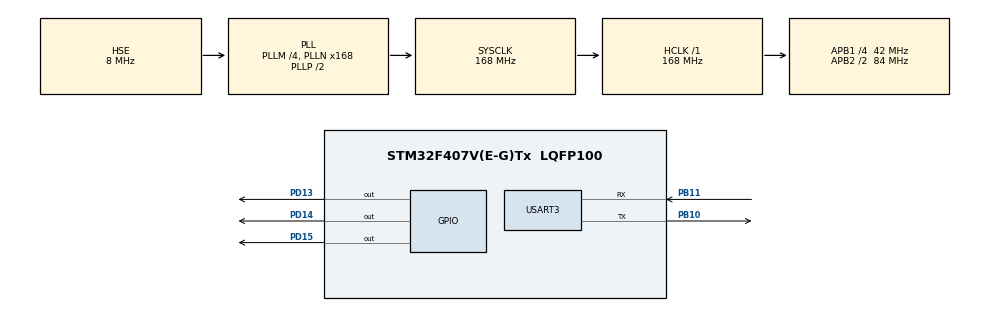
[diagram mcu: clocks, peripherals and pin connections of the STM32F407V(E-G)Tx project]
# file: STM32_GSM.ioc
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Mcu.Family=STM32F4
Mcu.Name=STM32F407V(E-G)Tx
Mcu.Package=LQFP100
NVIC.PriorityGroup=NVIC_PRIORITYGROUP_4
NVIC.USART3_IRQn=true\:0\:0\:false\:false\:true\:true\:true
PB10.Mode=Asynchronous
PB10.Signal=USART3_TX
PB11.Mode=Asynchronous
PB11.Signal=USART3_RX
PD13.Signal=GPIO_Output
PD14.Signal=GPIO_Output
PD15.Signal=GPIO_Output
PH0-OSC_IN.Mode=HSE-External-Oscillator
PH0-OSC_IN.Signal=RCC_OSC_IN
PH1-OSC_OUT.Mode=HSE-External-Oscillator
PH1-OSC_OUT.Signal=RCC_OSC_OUT
ProjectManager.HeapSize=0x200
ProjectManager.StackSize=0x400
ProjectManager.TargetToolchain=STM32CubeIDE
RCC.48MHZClocksFreq_Value=84000000
RCC.AHBFreq_Value=168000000
RCC.APB1CLKDivider=RCC_HCLK_DIV4
RCC.APB1Freq_Value=42000000
RCC.APB1TimFreq_Value=84000000
RCC.APB2CLKDivider=RCC_HCLK_DIV2
RCC.APB2Freq_Value=84000000
RCC.APB2TimFreq_Value=168000000
RCC.CortexFreq_Value=168000000
RCC.HCLKFreq_Value=168000000
RCC.HSE_VALUE=8000000
RCC.HSI_VALUE=16000000
RCC.LSE_VALUE=32768
RCC.PLLM=4
RCC.PLLN=168
RCC.PLLSourceVirtual=RCC_PLLSOURCE_HSE
RCC.SYSCLKFreq_VALUE=168000000
RCC.SYSCLKSource=RCC_SYSCLKSOURCE_PLLCLK
RCC.VCOOutputFreq_Value=336000000
USART3.VirtualMode=VM_ASYNC
board=custom

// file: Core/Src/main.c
/* USER CODE BEGIN Header */
/**
  ******************************************************************************
  * @file           : main.c
  * @brief          : Main program body
  ******************************************************************************
  * @attention
  *
  * <h2><center>&copy; Copyright (c) 2021 STMicroelectronics.
  * All rights reserved.</center></h2>
  *
  * This software component is licensed by ST under BSD 3-Clause license,
  * the "License"; You may not use this file except in compliance with the
  * License. You may obtain a copy of the License at:
  *                        opensource.org/licenses/BSD-3-Clause
  *
  ******************************************************************************
  */
/* USER CODE END Header */
#include "main.h"

/* USER CODE BEGIN PTD */
char GSM_AT_Send(char *Cmd, char CmdSize, char *rData, char RetSize, char trial);
/* USER CODE END PTD */

UART_HandleTypeDef huart3;

/* USER CODE BEGIN PV */
char Uart_Data[255];
char returnData[25];
char SMS[160];
char Rx_Cnt=0;
char Rx_Flag=0;
char *ptr;
/* USER CODE END PV */

void SystemClock_Config(void);
static void MX_GPIO_Init(void);
static void MX_USART3_UART_Init(void);

int main(void)
{

  /* MCU Configuration--------------------------------------------------------*/

  /* Reset of all peripherals, Initializes the Flash interface and the Systick. */
  HAL_Init();

  /* Configure the system clock */
  SystemClock_Config();

  /* Initialize all configured peripherals */
  MX_GPIO_Init();
  MX_USART3_UART_Init();
  /* USER CODE BEGIN 2 */
  __HAL_UART_ENABLE_IT(&huart3,UART_IT_RXNE);

  HAL_Delay(3000);
  GSM_AT_Send("AT\r\n", 4, "\r\nOK\r\n", 6, 5);
  HAL_Delay(200);
  GSM_AT_Send("AT+CPIN?\r\n", 10, "READY\r\n", 7, 5);
  HAL_Delay(200);
  GSM_AT_Send("AT+CREG?\r\n", 10, "+CREG: 0,1\r\n", 12, 5);
  HAL_Delay(200);
  GSM_AT_Send("AT+CMGF=1\r\n", 11, "\r\nOK\r\n", 6, 5);
  HAL_Delay(200);
  /* USER CODE END 2 */

  /* Infinite loop */
  while (1)
  {

    /* USER CODE BEGIN 3 */
	  if(GSM_AT_Send("AT+CMGR=1\r\n", 11, "\r\nOK\r\n", 6, 5) == 0)
	  {
		  if(strstr(Uart_Data,"+CMGR:") != 0)
		  {
		      ptr = strstr(Uart_Data,"\"\r\n");
		      if(ptr)
		      {
		    	  HAL_GPIO_WritePin(GPIOD, GPIO_PIN_15, GPIO_PIN_SET);

		    	  ptr = ptr + 3;
                  memcpy(SMS,ptr,160);

                  if(strstr(SMS,"LED1 ON") != 0)
                  {
                	  HAL_GPIO_WritePin(GPIOD, GPIO_PIN_14, GPIO_PIN_SET);
                  }

                  if(strstr(SMS,"LED1 OFF") != 0)
                  {
                      HAL_GPIO_WritePin(GPIOD, GPIO_PIN_14, GPIO_PIN_RESET);
                  }

                  if(strstr(SMS,"LED2 ON") != 0)
                  {
                	  HAL_GPIO_WritePin(GPIOD, GPIO_PIN_13, GPIO_PIN_SET);
                  }

                  if(strstr(SMS,"LED2 OFF") != 0)
                  {
                      HAL_GPIO_WritePin(GPIOD, GPIO_PIN_13, GPIO_PIN_RESET);
                  }
                  HAL_Delay(1000);
                  HAL_GPIO_WritePin(GPIOD, GPIO_PIN_15, GPIO_PIN_RESET);

                  GSM_AT_Send("AT+CMGD=1\r\n", 11, "\r\nOK\r\n", 6, 5);
		      }
		  }
	  }
	  HAL_Delay(500);

  }
  /* USER CODE END 3 */
}

void SystemClock_Config(void)
{
  RCC_OscInitTypeDef RCC_OscInitStruct = {0};
  RCC_ClkInitTypeDef RCC_ClkInitStruct = {0};

  /** Configure the main internal regulator output voltage
  */
  __HAL_RCC_PWR_CLK_ENABLE();
  __HAL_PWR_VOLTAGESCALING_CONFIG(PWR_REGULATOR_VOLTAGE_SCALE1);
  /** Initializes the RCC Oscillators according to the specified parameters
  * in the RCC_OscInitTypeDef structure.
  */
  RCC_OscInitStruct.OscillatorType = RCC_OSCILLATORTYPE_HSE;
  RCC_OscInitStruct.HSEState = RCC_HSE_ON;
  RCC_OscInitStruct.PLL.PLLState = RCC_PLL_ON;
  RCC_OscInitStruct.PLL.PLLSource = RCC_PLLSOURCE_HSE;
  RCC_OscInitStruct.PLL.PLLM = 4;
  RCC_OscInitStruct.PLL.PLLN = 168;
  RCC_OscInitStruct.PLL.PLLP = RCC_PLLP_DIV2;
  RCC_OscInitStruct.PLL.PLLQ = 4;
  if (HAL_RCC_OscConfig(&RCC_OscInitStruct) != HAL_OK)
  {
    Error_Handler();
  }
  /** Initializes the CPU, AHB and APB buses clocks
  */
  RCC_ClkInitStruct.ClockType = RCC_CLOCKTYPE_HCLK|RCC_CLOCKTYPE_SYSCLK
                              |RCC_CLOCKTYPE_PCLK1|RCC_CLOCKTYPE_PCLK2;
  RCC_ClkInitStruct.SYSCLKSource = RCC_SYSCLKSOURCE_PLLCLK;
  RCC_ClkInitStruct.AHBCLKDivider = RCC_SYSCLK_DIV1;
  RCC_ClkInitStruct.APB1CLKDivider = RCC_HCLK_DIV4;
  RCC_ClkInitStruct.APB2CLKDivider = RCC_HCLK_DIV2;

  if (HAL_RCC_ClockConfig(&RCC_ClkInitStruct, FLASH_LATENCY_5) != HAL_OK)
  {
    Error_Handler();
  }
}

static void MX_USART3_UART_Init(void)
{

  huart3.Instance = USART3;
  huart3.Init.BaudRate = 115200;
  huart3.Init.WordLength = UART_WORDLENGTH_8B;
  huart3.Init.StopBits = UART_STOPBITS_1;
  huart3.Init.Parity = UART_PARITY_NONE;
  huart3.Init.Mode = UART_MODE_TX_RX;
  huart3.Init.HwFlowCtl = UART_HWCONTROL_NONE;
  huart3.Init.OverSampling = UART_OVERSAMPLING_16;
  if (HAL_UART_Init(&huart3) != HAL_OK)
  {
    Error_Handler();
  }

}

static void MX_GPIO_Init(void)
{
  GPIO_InitTypeDef GPIO_InitStruct = {0};

  /* GPIO Ports Clock Enable */
  __HAL_RCC_GPIOH_CLK_ENABLE();
  __HAL_RCC_GPIOB_CLK_ENABLE();
  __HAL_RCC_GPIOD_CLK_ENABLE();

  /*Configure GPIO pin Output Level */
  HAL_GPIO_WritePin(GPIOD, GPIO_PIN_13|GPIO_PIN_14|GPIO_PIN_15, GPIO_PIN_RESET);

  /*Configure GPIO pins : PD13 PD14 PD15 */
  GPIO_InitStruct.Pin = GPIO_PIN_13|GPIO_PIN_14|GPIO_PIN_15;
  GPIO_InitStruct.Mode = GPIO_MODE_OUTPUT_PP;
  GPIO_InitStruct.Pull = GPIO_NOPULL;
  GPIO_InitStruct.Speed = GPIO_SPEED_FREQ_LOW;
  HAL_GPIO_Init(GPIOD, &GPIO_InitStruct);

}

/* USER CODE BEGIN 4 */
char GSM_AT_Send(char *Cmd, char CmdSize, char *rData, char RetSize, char trial)
{
    char cnt=0;

	memset(returnData,0x00,sizeof(returnData));
	memcpy(returnData,rData,RetSize);

    while(cnt<trial)
    {

    	Rx_Cnt = 0;
        memset(Uart_Data,0x00,sizeof(Uart_Data));
        HAL_UART_Transmit(&huart3, Cmd, CmdSize, 50);
        HAL_Delay(500);
        if(Rx_Flag)
        {
        	Rx_Flag = 0;
        	return 0;
        }
    	cnt++;
    }

    return 1;
}

/* USER CODE END 4 */

void Error_Handler(void)
{
  __disable_irq();
  while (1)
  {
  }
}

/************************ (C) COPYRIGHT STMicroelectronics *****END OF FILE****/
